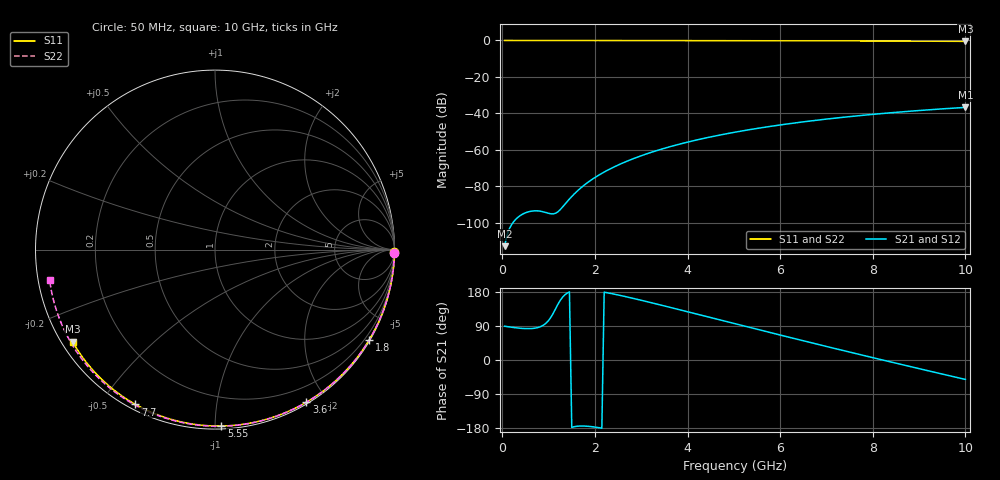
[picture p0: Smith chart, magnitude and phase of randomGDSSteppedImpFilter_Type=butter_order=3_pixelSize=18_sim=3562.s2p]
! freq	dB(S11)	phase(S11)	dB(S12)	phase(S12)
!  dB(S21)	phase(S21)	dB(S22)	phase(S22)
!S-par simulation data
#  GHz  S  DB  R 50
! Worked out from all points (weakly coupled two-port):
!   200 points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, 50 MHz to 10 GHz, reference 50 ohm
!   highest |S21| = -36.73 dB at 10 GHz (marker M1); lowest = -112.9 dB at 50 MHz (marker M2)
!   lowest |S11| = -0.5 dB at 10 GHz (marker M3), VSWR 35.31, Z = 1.54 - j14.7 ohm
!   |S11| at or under -10 dB: nowhere
!   |S22| runs from -0.6 to 0.0 dB; largest |S21 - S12| = 0
!   S11 on the Smith chart (normalised r, x): 50 MHz: open; 1.8 GHz: 0.03, -3.70; 3.6 GHz: 0.02, -1.77; 5.55 GHz: 0.02, -1.04; 7.7 GHz: 0.02, -0.61; 10 GHz: 0.03, -0.29
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0.05  -0.00 -0.9  -112.90 89.1  -112.90 89.1  -0.00 -1.0
0.45  -0.01 -7.7  -95.16 83.2  -95.16 83.2  -0.01 -8.7
0.85  -0.02 -14.5  -93.84 89.3  -93.84 89.3  -0.02 -16.3
1.25  -0.03 -21.2  -92.89 157.1  -92.89 157.1  -0.03 -23.9
1.7  -0.04 -28.6  -80.82 -174.2  -80.82 -174.2  -0.04 -32.3
1.75  -0.04 -29.5  -79.77 -174.2  -79.77 -174.2  -0.04 -33.3
1.8  -0.04 -30.3  -78.78 -174.5  -78.78 -174.5  -0.04 -34.2
2.1  -0.04 -35.2  -73.66 -178.9  -73.66 -178.9  -0.05 -39.7
2.3  -0.05 -38.5  -70.85 176.7  -70.85 176.7  -0.06 -43.4
2.5  -0.05 -41.7  -68.39 171.6  -68.39 171.6  -0.06 -47.1
2.9  -0.06 -48.1  -64.19 160.5  -64.19 160.5  -0.07 -54.3
3.4  -0.07 -55.9  -59.93 145.7  -59.93 145.7  -0.08 -63.1
3.6  -0.08 -59.0  -58.46 139.7  -58.46 139.7  -0.09 -66.6
4.3  -0.10 -69.7  -54.02 118.2  -54.02 118.2  -0.11 -78.6
5.05  -0.12 -80.7  -50.22 95.0  -50.22 95.0  -0.14 -91.0
5.55  -0.14 -87.9  -48.08 79.6  -48.08 79.6  -0.16 -99.1
6.1  -0.17 -95.6  -46.01 62.8  -46.01 62.8  -0.19 -107.9
6.7  -0.20 -103.8  -44.04 44.7  -44.04 44.7  -0.23 -117.3
7.7  -0.27 -117.2  -41.28 15.0  -41.28 15.0  -0.31 -132.9
8.35  -0.32 -125.7  -39.77 -4.0  -39.77 -4.0  -0.37 -143.0
9.2  -0.40 -136.7  -38.07 -28.5  -38.07 -28.5  -0.46 -156.5
10  -0.49 -147.1  -36.73 -51.3  -36.73 -51.3  -0.57 -169.7
